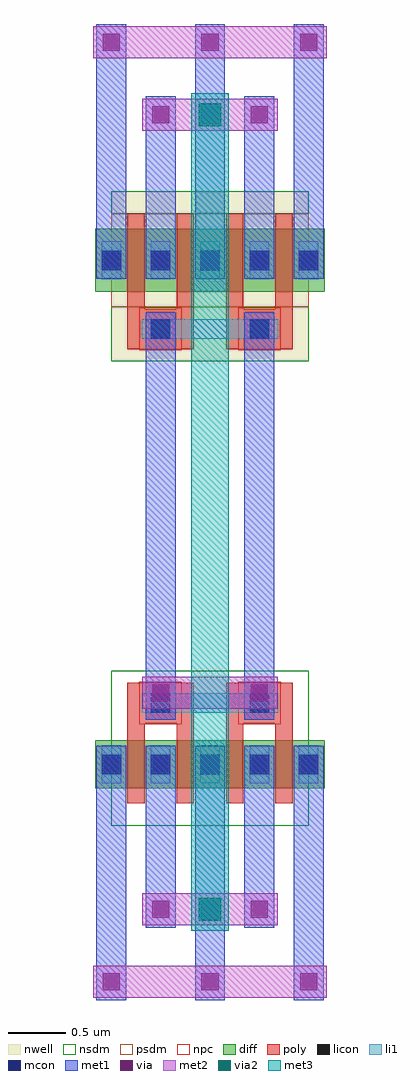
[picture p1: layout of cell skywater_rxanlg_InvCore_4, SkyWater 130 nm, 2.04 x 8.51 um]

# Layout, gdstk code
import gdstk
lib = gdstk.Library(unit=1e-6, precision=1e-09)
def R(c, l, rs):  # rectangles x0, y0, x1, y1
    for r in rs: c.add(gdstk.rectangle(r[:2], r[2:], *l))
def A(c, l, x, y, w, h, nx, ny, dx, dy):  # array of equal rectangles
    R(c, l, [(x+i*dx, y+j*dy, x+i*dx+w, y+j*dy+h) for i in range(nx) for j in range(ny)])
def P(c, l, *ps):  # polygons
    for p in ps: c.add(gdstk.Polygon(p, *l))
nwell = (64, 20)
diff = (65, 20)
poly = (66, 20)
licon = (66, 44)
li1 = (67, 20)
mcon = (67, 44)
met1 = (68, 20)
via = (68, 44)
met2 = (69, 20)
via2 = (69, 44)
met3 = (70, 20)
nsdm = (93, 44)
psdm = (94, 20)
npc = (95, 20)

skywater_rxanlg_mosconn_ = lib.new_cell('skywater_rxanlg_MOSConn_8')
R(skywater_rxanlg_mosconn_, diff, [(-0.14,0.605,1.86,1.025)])
R(skywater_rxanlg_mosconn_, poly, [(0.265,0.105,0.595,0.455), (1.125,0.105,1.455,0.455)])
P(skywater_rxanlg_mosconn_, poly, [(0.57,1.155),(0.57,0.455),(0.29,0.455),(0.29,1.155),(0.14,1.155),(0.14,0.105),(0.72,0.105),(0.72,1.155)],
  [(1.43,1.155),(1.43,0.455),(1.15,0.455),(1.15,1.155),(1,1.155),(1,0.105),(1.58,0.105),(1.58,1.155)])
A(skywater_rxanlg_mosconn_, licon, -0.085, 0.73, 0.17, 0.17, 5, 1, 0.43, 0)
R(skywater_rxanlg_mosconn_, licon, [(0.345,0.195,0.515,0.365), (1.205,0.195,1.375,0.365)])
A(skywater_rxanlg_mosconn_, li1, -0.085, 0.65, 0.17, 0.33, 5, 1, 0.43, 0)
A(skywater_rxanlg_mosconn_, li1, -0.085, 0.69, 0.17, 0.25, 5, 1, 0.43, 0)
R(skywater_rxanlg_mosconn_, li1, [(0.265,0.195,1.455,0.365), (0.265,0.195,0.595,0.365), (0.305,0.195,0.555,0.365), (1.125,0.195,1.455,0.365), (1.165,0.195,1.415,0.365)])
A(skywater_rxanlg_mosconn_, mcon, -0.085, 0.73, 0.17, 0.17, 5, 1, 0.43, 0)
R(skywater_rxanlg_mosconn_, mcon, [(0.345,0.195,0.515,0.365), (1.205,0.195,1.375,0.365)])
A(skywater_rxanlg_mosconn_, met1, -0.13, 0.655, 0.26, 0.32, 5, 1, 0.43, 0)
A(skywater_rxanlg_mosconn_, met1, -0.13, 0.67, 0.26, 0.29, 5, 1, 0.43, 0)
R(skywater_rxanlg_mosconn_, met1, [(0.3,0.105,0.56,0.425), (1.16,0.105,1.42,0.425), (0.3,0.135,0.56,0.425), (1.16,0.135,1.42,0.425)])
R(skywater_rxanlg_mosconn_, nsdm, [(0,0,1.72,1.35)])
R(skywater_rxanlg_mosconn_, npc, [(0.245,0.095,0.615,0.465), (1.105,0.095,1.475,0.465)])

c_skywater_rxanlg_mosconn_ = lib.new_cell('skywater_rxanlg_MOSConn_9')
R(c_skywater_rxanlg_mosconn_, nwell, [(0,0,1.72,1.48)])
R(c_skywater_rxanlg_mosconn_, diff, [(-0.14,0.605,1.86,1.155)])
R(c_skywater_rxanlg_mosconn_, poly, [(0.265,0.105,0.595,0.455), (1.125,0.105,1.455,0.455)])
P(c_skywater_rxanlg_mosconn_, poly, [(0.57,1.285),(0.57,0.455),(0.29,0.455),(0.29,1.285),(0.14,1.285),(0.14,0.105),(0.72,0.105),(0.72,1.285)],
  [(1.43,1.285),(1.43,0.455),(1.15,0.455),(1.15,1.285),(1,1.285),(1,0.105),(1.58,0.105),(1.58,1.285)])
A(c_skywater_rxanlg_mosconn_, licon, -0.085, 0.795, 0.17, 0.17, 5, 1, 0.43, 0)
R(c_skywater_rxanlg_mosconn_, licon, [(0.345,0.195,0.515,0.365), (1.205,0.195,1.375,0.365)])
A(c_skywater_rxanlg_mosconn_, li1, -0.085, 0.715, 0.17, 0.33, 5, 1, 0.43, 0)
A(c_skywater_rxanlg_mosconn_, li1, -0.085, 0.755, 0.17, 0.25, 5, 1, 0.43, 0)
R(c_skywater_rxanlg_mosconn_, li1, [(0.265,0.195,1.455,0.365), (0.265,0.195,0.595,0.365), (0.305,0.195,0.555,0.365), (1.125,0.195,1.455,0.365), (1.165,0.195,1.415,0.365)])
A(c_skywater_rxanlg_mosconn_, mcon, -0.085, 0.795, 0.17, 0.17, 5, 1, 0.43, 0)
R(c_skywater_rxanlg_mosconn_, mcon, [(0.345,0.195,0.515,0.365), (1.205,0.195,1.375,0.365)])
A(c_skywater_rxanlg_mosconn_, met1, -0.13, 0.72, 0.26, 0.32, 5, 1, 0.43, 0)
A(c_skywater_rxanlg_mosconn_, met1, -0.13, 0.735, 0.26, 0.29, 5, 1, 0.43, 0)
R(c_skywater_rxanlg_mosconn_, met1, [(0.3,0.105,0.56,0.425), (1.16,0.105,1.42,0.425), (0.3,0.135,0.56,0.425), (1.16,0.135,1.42,0.425)])
R(c_skywater_rxanlg_mosconn_, nsdm, [(0,0,1.72,0.475), (0,1.285,1.72,1.48)])
R(c_skywater_rxanlg_mosconn_, psdm, [(0,0.475,1.72,1.285)])
R(c_skywater_rxanlg_mosconn_, npc, [(0.245,0.095,0.615,0.465), (1.105,0.095,1.475,0.465)])

skywater_rxanlg_invcore_ = lib.new_cell('skywater_rxanlg_InvCore_4')
A(skywater_rxanlg_invcore_, met1, -0.13, -0.16, 0.26, 2.215, 3, 1, 0.86, 0)
A(skywater_rxanlg_invcore_, met1, -0.13, -0.16, 0.26, 0.32, 3, 2, 0.86, 8.19)
A(skywater_rxanlg_invcore_, met1, -0.13, 6.13, 0.26, 2.22, 3, 1, 0.86, 0)
R(skywater_rxanlg_invcore_, met1, [(0.3,0.47,0.56,2.055), (0.3,0.47,0.56,0.79), (1.16,0.47,1.42,2.055), (1.16,0.47,1.42,0.79), (0.3,2.285,0.56,5.835), (1.16,2.285,1.42,5.835), (0.3,2.36,0.56,2.68), (1.16,2.36,1.42,2.68), (0.3,6.13,0.56,7.72), (1.16,6.13,1.42,7.72), (0.3,7.4,0.56,7.72), (1.16,7.4,1.42,7.72)])
A(skywater_rxanlg_invcore_, via, -0.075, -0.075, 0.15, 0.15, 3, 2, 0.86, 8.19)
R(skywater_rxanlg_invcore_, via, [(0.355,0.555,0.505,0.705), (1.215,0.555,1.365,0.705), (0.355,2.445,0.505,2.595), (1.215,2.445,1.365,2.595), (0.355,7.485,0.505,7.635), (1.215,7.485,1.365,7.635)])
A(skywater_rxanlg_invcore_, met2, -0.16, -0.14, 0.32, 0.28, 3, 2, 0.86, 8.19)
R(skywater_rxanlg_invcore_, met2, [(-0.16,-0.14,1.88,0.14), (0.27,0.49,1.45,0.77), (0.27,0.49,0.59,0.77), (0.675,0.49,1.045,0.77), (1.13,0.49,1.45,0.77), (0.27,2.38,1.45,2.66), (0.27,2.38,0.59,2.66), (1.13,2.38,1.45,2.66), (0.27,7.42,1.45,7.7), (0.27,7.42,0.59,7.7), (0.675,7.42,1.045,7.7), (1.13,7.42,1.45,7.7), (-0.16,8.05,1.88,8.33)])
R(skywater_rxanlg_invcore_, via2, [(0.76,0.53,0.96,0.73), (0.76,7.46,0.96,7.66)])
R(skywater_rxanlg_invcore_, met3, [(0.695,0.445,1.025,7.745), (0.695,0.445,1.025,0.815), (0.695,7.375,1.025,7.745)])
skywater_rxanlg_invcore_.add(gdstk.Reference(skywater_rxanlg_mosconn_, (0,2.71), x_reflection=True))
skywater_rxanlg_invcore_.add(gdstk.Reference(c_skywater_rxanlg_mosconn_, (0,5.41)))

lib.write_gds('skywater_rxanlg_InvCore_4.gds')
